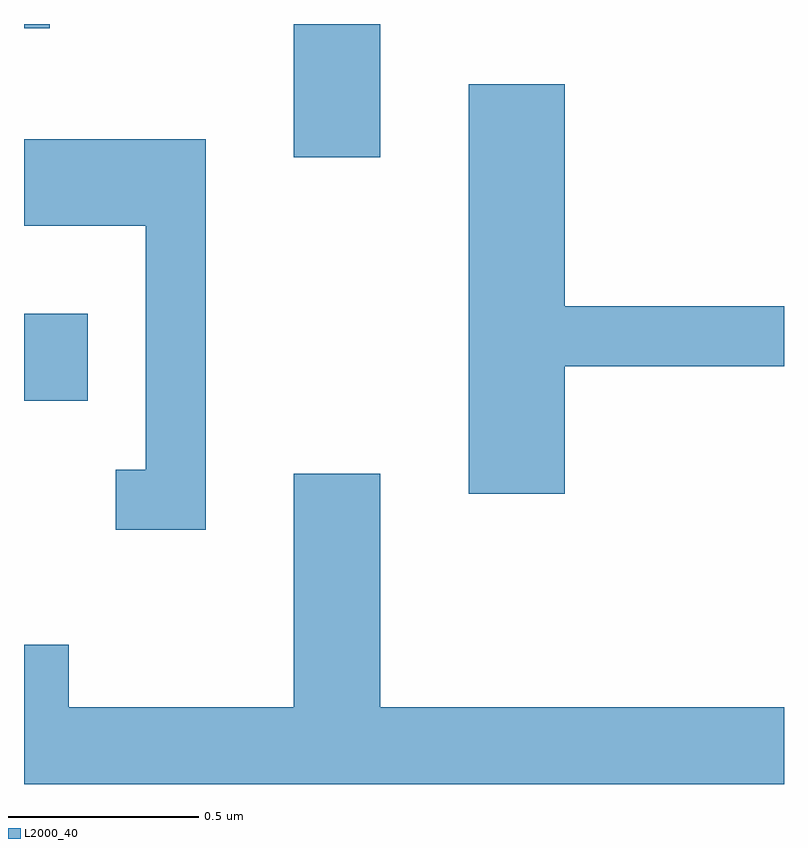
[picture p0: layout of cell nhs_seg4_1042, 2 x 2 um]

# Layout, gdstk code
import gdstk
lib = gdstk.Library(unit=1e-6, precision=1e-09)
def R(c, l, rs):  # rectangles x0, y0, x1, y1
    for r in rs: c.add(gdstk.rectangle(r[:2], r[2:], *l))
def P(c, l, *ps):  # polygons
    for p in ps: c.add(gdstk.Polygon(p, *l))
L2000_40 = (2000, 40)

nhs_seg4_1042 = lib.new_cell('nhs_seg4_1042')
R(nhs_seg4_1042, L2000_40, [(192.611,1337.991,192.779,1338.219), (193.321,1338.631,193.549,1338.982), (192.611,1338.971,192.679,1338.982)])
P(nhs_seg4_1042, L2000_40, [(194.034,1338.081),(194.611,1338.081),(194.611,1338.239),(194.034,1338.239),(194.034,1338.824),(193.781,1338.824),(193.781,1337.746),(194.034,1337.746)],
  [(193.089,1338.679),(192.611,1338.679),(192.611,1338.451),(192.931,1338.451),(192.931,1337.809),(192.853,1337.809),(192.853,1337.651),(193.089,1337.651)],
  [(194.611,1337.184),(193.549,1337.184),(193.549,1337.799),(193.321,1337.799),(193.321,1337.184),(192.729,1337.184),(192.729,1337.349),(192.611,1337.349),(192.611,1336.982),(194.611,1336.982)])

lib.write_gds('nhs_seg4_1042.gds')
